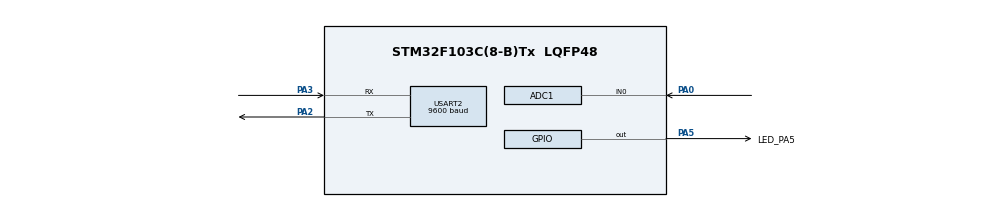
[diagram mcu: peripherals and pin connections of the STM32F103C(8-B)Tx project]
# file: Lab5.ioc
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ADC1.Channel-3\#ChannelRegularConversion=ADC_CHANNEL_0
ADC1.ContinuousConvMode=ENABLE
ADC1.NbrOfConversionFlag=1
ADC1.Rank-3\#ChannelRegularConversion=1
ADC1.SamplingTime-3\#ChannelRegularConversion=ADC_SAMPLETIME_1CYCLE_5
ADC1.master=1
Mcu.Family=STM32F1
Mcu.Name=STM32F103C(8-B)Tx
Mcu.Package=LQFP48
NVIC.PriorityGroup=NVIC_PRIORITYGROUP_4
NVIC.TIM2_IRQn=true\:0\:0\:false\:false\:true\:true\:true\:true
NVIC.USART2_IRQn=true\:0\:0\:false\:false\:true\:true\:true\:true
PA0-WKUP.Signal=ADCx_IN0
PA13.Mode=Serial_Wire
PA13.Signal=SYS_JTMS-SWDIO
PA14.Mode=Serial_Wire
PA14.Signal=SYS_JTCK-SWCLK
PA2.Mode=Asynchronous
PA2.Signal=USART2_TX
PA3.Mode=Asynchronous
PA3.Signal=USART2_RX
PA5.GPIO_Label=LED_PA5
PA5.Signal=GPIO_Output
ProjectManager.HeapSize=0x200
ProjectManager.StackSize=0x400
ProjectManager.TargetToolchain=STM32CubeIDE
RCC.APB1Freq_Value=8000000
RCC.APB2Freq_Value=8000000
SH.ADCx_IN0.0=ADC1_IN0,IN0
TIM2.Period=9
TIM2.Prescaler=7999
USART2.BaudRate=9600
USART2.VirtualMode=VM_ASYNC
VP_TIM2_VS_ClockSourceINT.Mode=Internal
board=custom

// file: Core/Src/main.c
/* USER CODE BEGIN Header */
/**
  ******************************************************************************
  * @file           : main.c
  * @brief          : Main program body
  ******************************************************************************
  * @attention
  *
  * Copyright (c) 2024 STMicroelectronics.
  * All rights reserved.
  *
  * This software is licensed under terms that can be found in the LICENSE file
  * in the root directory of this software component.
  * If no LICENSE file comes with this software, it is provided AS-IS.
  *
  ******************************************************************************
  */
/* USER CODE END Header */
#include "main.h"

/* USER CODE BEGIN Includes */
#include <stdio.h>
#include "gobal.h"
#include "timer.h"
#include "command_parser.h"
#include "uart_communiation.h"
/* USER CODE END Includes */

ADC_HandleTypeDef hadc1;

TIM_HandleTypeDef htim2;

UART_HandleTypeDef huart2;

void SystemClock_Config(void);
static void MX_GPIO_Init(void);
static void MX_ADC1_Init(void);
static void MX_USART2_UART_Init(void);
static void MX_TIM2_Init(void);
/* USER CODE BEGIN PFP */
void HAL_TIM_PeriodElapsedCallback(TIM_HandleTypeDef *htim);

void HAL_UART_RxCpltCallback(UART_HandleTypeDef *huart);
/* USER CODE END PFP */

/* USER CODE BEGIN 0 */
void HAL_TIM_PeriodElapsedCallback(TIM_HandleTypeDef *htim){
	runTimer();
}

void HAL_UART_RxCpltCallback(UART_HandleTypeDef *huart){
	if(huart->Instance == USART2){
		//HAL_UART_Transmit(&huart2, &temp, 1, 100);
		buffer[index_buffer++] = temp;

		if(index_buffer >= MAX_BUFFER_SIZE){
			index_buffer = 0;
		}
		buffer_flag = 1;

		HAL_UART_Receive_IT(&huart2, &temp, 1);
	}
}
/* USER CODE END 0 */

int main(void)
{

  /* MCU Configuration--------------------------------------------------------*/

  /* Reset of all peripherals, Initializes the Flash interface and the Systick. */
  HAL_Init();

  /* Configure the system clock */
  SystemClock_Config();

  /* Initialize all configured peripherals */
  MX_GPIO_Init();
  MX_ADC1_Init();
  MX_USART2_UART_Init();
  MX_TIM2_Init();

  /* Infinite loop */
  /* USER CODE BEGIN WHILE */
  Init_Timer();

  HAL_ADC_Start(&hadc1);
  HAL_TIM_Base_Start_IT(&htim2);
  HAL_UART_Receive_IT(&huart2, &temp, 1);

  while (1)
  {
	  /*HAL_GPIO_TogglePin(LED_PA5_GPIO_Port, LED_PA5_Pin);
	  ADC_value = HAL_ADC_GetValue(&hadc1);
	  HAL_UART_Transmit(&huart2, (void *)str, sprintf(str, "%lu\n", ADC_value), 1000);
	  HAL_Delay(500);*/
	  /*We implement here*/

	  if(buffer_flag == 1){
		  command_parser_fsm();
		  buffer_flag = 0;
	  }
	  uart_communiation_fsm();
    /* USER CODE END WHILE */

  }
}

void SystemClock_Config(void)
{
  RCC_OscInitTypeDef RCC_OscInitStruct = {0};
  RCC_ClkInitTypeDef RCC_ClkInitStruct = {0};
  RCC_PeriphCLKInitTypeDef PeriphClkInit = {0};

  /** Initializes the RCC Oscillators according to the specified parameters
  * in the RCC_OscInitTypeDef structure.
  */
  RCC_OscInitStruct.OscillatorType = RCC_OSCILLATORTYPE_HSI;
  RCC_OscInitStruct.HSIState = RCC_HSI_ON;
  RCC_OscInitStruct.HSICalibrationValue = RCC_HSICALIBRATION_DEFAULT;
  RCC_OscInitStruct.PLL.PLLState = RCC_PLL_NONE;
  if (HAL_RCC_OscConfig(&RCC_OscInitStruct) != HAL_OK)
  {
    Error_Handler();
  }

  /** Initializes the CPU, AHB and APB buses clocks
  */
  RCC_ClkInitStruct.ClockType = RCC_CLOCKTYPE_HCLK|RCC_CLOCKTYPE_SYSCLK
                              |RCC_CLOCKTYPE_PCLK1|RCC_CLOCKTYPE_PCLK2;
  RCC_ClkInitStruct.SYSCLKSource = RCC_SYSCLKSOURCE_HSI;
  RCC_ClkInitStruct.AHBCLKDivider = RCC_SYSCLK_DIV1;
  RCC_ClkInitStruct.APB1CLKDivider = RCC_HCLK_DIV1;
  RCC_ClkInitStruct.APB2CLKDivider = RCC_HCLK_DIV1;

  if (HAL_RCC_ClockConfig(&RCC_ClkInitStruct, FLASH_LATENCY_0) != HAL_OK)
  {
    Error_Handler();
  }
  PeriphClkInit.PeriphClockSelection = RCC_PERIPHCLK_ADC;
  PeriphClkInit.AdcClockSelection = RCC_ADCPCLK2_DIV2;
  if (HAL_RCCEx_PeriphCLKConfig(&PeriphClkInit) != HAL_OK)
  {
    Error_Handler();
  }
}

static void MX_ADC1_Init(void)
{

  ADC_ChannelConfTypeDef sConfig = {0};

  /** Common config
  */
  hadc1.Instance = ADC1;
  hadc1.Init.ScanConvMode = ADC_SCAN_DISABLE;
  hadc1.Init.ContinuousConvMode = ENABLE;
  hadc1.Init.DiscontinuousConvMode = DISABLE;
  hadc1.Init.ExternalTrigConv = ADC_SOFTWARE_START;
  hadc1.Init.DataAlign = ADC_DATAALIGN_RIGHT;
  hadc1.Init.NbrOfConversion = 1;
  if (HAL_ADC_Init(&hadc1) != HAL_OK)
  {
    Error_Handler();
  }

  /** Configure Regular Channel
  */
  sConfig.Channel = ADC_CHANNEL_0;
  sConfig.Rank = ADC_REGULAR_RANK_1;
  sConfig.SamplingTime = ADC_SAMPLETIME_1CYCLE_5;
  if (HAL_ADC_ConfigChannel(&hadc1, &sConfig) != HAL_OK)
  {
    Error_Handler();
  }

}

static void MX_TIM2_Init(void)
{

  TIM_ClockConfigTypeDef sClockSourceConfig = {0};
  TIM_MasterConfigTypeDef sMasterConfig = {0};

  htim2.Instance = TIM2;
  htim2.Init.Prescaler = 7999;
  htim2.Init.CounterMode = TIM_COUNTERMODE_UP;
  htim2.Init.Period = 9;
  htim2.Init.ClockDivision = TIM_CLOCKDIVISION_DIV1;
  htim2.Init.AutoReloadPreload = TIM_AUTORELOAD_PRELOAD_DISABLE;
  if (HAL_TIM_Base_Init(&htim2) != HAL_OK)
  {
    Error_Handler();
  }
  sClockSourceConfig.ClockSource = TIM_CLOCKSOURCE_INTERNAL;
  if (HAL_TIM_ConfigClockSource(&htim2, &sClockSourceConfig) != HAL_OK)
  {
    Error_Handler();
  }
  sMasterConfig.MasterOutputTrigger = TIM_TRGO_RESET;
  sMasterConfig.MasterSlaveMode = TIM_MASTERSLAVEMODE_DISABLE;
  if (HAL_TIMEx_MasterConfigSynchronization(&htim2, &sMasterConfig) != HAL_OK)
  {
    Error_Handler();
  }

}

static void MX_USART2_UART_Init(void)
{

  huart2.Instance = USART2;
  huart2.Init.BaudRate = 9600;
  huart2.Init.WordLength = UART_WORDLENGTH_8B;
  huart2.Init.StopBits = UART_STOPBITS_1;
  huart2.Init.Parity = UART_PARITY_NONE;
  huart2.Init.Mode = UART_MODE_TX_RX;
  huart2.Init.HwFlowCtl = UART_HWCONTROL_NONE;
  huart2.Init.OverSampling = UART_OVERSAMPLING_16;
  if (HAL_UART_Init(&huart2) != HAL_OK)
  {
    Error_Handler();
  }

}

static void MX_GPIO_Init(void)
{
  GPIO_InitTypeDef GPIO_InitStruct = {0};

  /* GPIO Ports Clock Enable */
  __HAL_RCC_GPIOA_CLK_ENABLE();

  /*Configure GPIO pin Output Level */
  HAL_GPIO_WritePin(LED_PA5_GPIO_Port, LED_PA5_Pin, GPIO_PIN_RESET);

  /*Configure GPIO pin : LED_PA5_Pin */
  GPIO_InitStruct.Pin = LED_PA5_Pin;
  GPIO_InitStruct.Mode = GPIO_MODE_OUTPUT_PP;
  GPIO_InitStruct.Pull = GPIO_NOPULL;
  GPIO_InitStruct.Speed = GPIO_SPEED_FREQ_LOW;
  HAL_GPIO_Init(LED_PA5_GPIO_Port, &GPIO_InitStruct);

}

void Error_Handler(void)
{
  __disable_irq();
  while (1)
  {
  }
}
